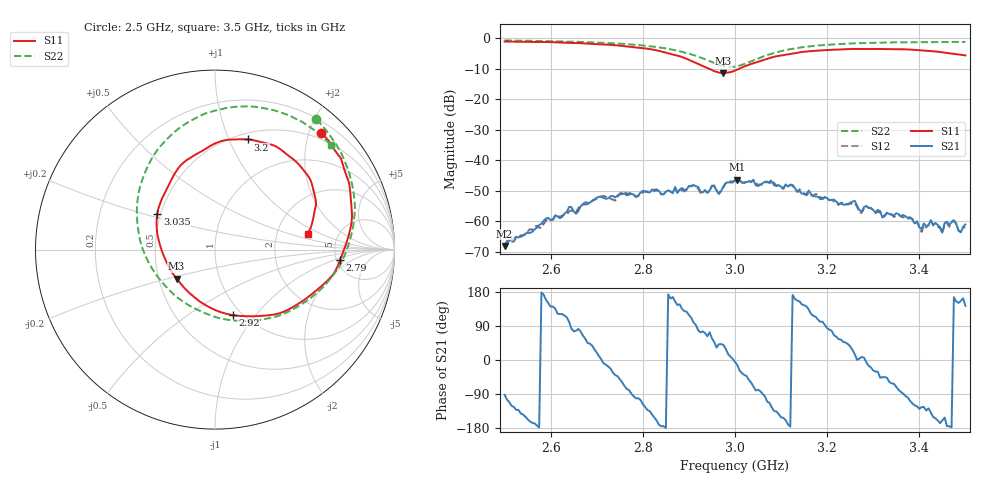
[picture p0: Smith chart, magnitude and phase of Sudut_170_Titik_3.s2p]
# Hz S RI R 50
! CMT, C1220, 16058040, 17.2.0/1
! Date: 15/08/2018 10:42:20
! Data: Format (Calibration Info)
! Freq  S11: Re/Im (F2)  S21: Re/Im (F2)  S12: Re/Im (F2)  S22: Re/Im (F2)
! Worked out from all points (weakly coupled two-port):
!   201 points, 2.5 GHz to 3.5 GHz, reference 50 ohm
!   highest |S21| = -46.29 dB at 3.005 GHz (marker M1); lowest = -68.0 dB at 2.5 GHz (marker M2)
!   lowest |S11| = -11.4 dB at 2.975 GHz (marker M3), VSWR 1.73, Z = 30.9 - j10.8 ohm
!   |S11| at or under -10 dB: 2.944 GHz to 3.009 GHz (65.59 MHz wide, 2.2 % of centre)
!   |S22| runs from -9.4 to -0.7 dB; largest |S21 - S12| = 0.00043
!   S11 on the Smith chart (normalised r, x): 2.5 GHz: 0.38, +2.21; 2.79 GHz: 5.36, -1.23; 2.92 GHz: 0.90, -0.77; 3.035 GHz: 0.48, +0.22; 3.2 GHz: 0.57, +1.18; 3.5 GHz: 2.99, +0.74
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2.5e9  0.5924 0.6516  -1.25e-05 -0.000396  -4.57e-05 -0.000391  0.5644 0.7249
2.67e9  0.7513 0.3408  0.00083 0.00174  0.000925 0.00164  0.7381 0.4536
2.79e9  0.6969 -0.0585  -0.000503 -0.00263  -0.000589 -0.00254  0.7653 0.1061
2.835e9  0.5822 -0.2127  -0.00312 -0.000496  -0.00292 -0.000512  0.705 -0.069
2.92e9  0.098 -0.3655  0.000717 0.00361  0.00064 0.0034  0.33 -0.3759
2.965e9  -0.169 -0.2156  0.00211 0.00187  0.00215 0.00192  -0.0223 -0.3672
2.975e9  -0.214 -0.1617  0.00291 0.0024  0.00285 0.00229  -0.0991 -0.3347
3e9  -0.2951 -0.011  0.00462 -0.000399  0.00467 -0.000594  -0.2716 -0.2081
3.005e9  -0.3053 0.0215  0.00472 -0.00111  0.00448 -0.00119  -0.3003 -0.1761
3.035e9  -0.3219 0.1994  0.00224 -0.00383  0.0023 -0.00381  -0.4169 0.0482
3.105e9  -0.1407 0.5093  -0.00311 -0.00161  -0.00304 -0.00149  -0.3393 0.5282
3.17e9  0.0859 0.6128  -0.00115 0.00231  -0.00136 0.00228  -0.0905 0.7415
3.2e9  0.1849 0.6135  0.000259 0.00238  0.000375 0.00239  0.0203 0.7789
3.335e9  0.4887 0.4482  0.000695 -0.00113  0.000645 -0.00117  0.3935 0.7548
3.385e9  0.5428 0.3543  -0.000447 -0.000972  -0.000451 -0.00101  0.4888 0.7095
3.405e9  0.5552 0.3037  -0.000423 -0.000622  -0.000408 -0.000537  0.5198 0.6881
3.425e9  0.5628 0.2567  -0.000788 -0.000698  -0.000793 -0.000653  0.5497 0.6681
3.45e9  0.5526 0.2018  -0.000613 -0.000234  -0.000594 -0.000236  0.5859 0.6394
3.455e9  0.5497 0.1884  -0.000833 -0.000441  -0.000829 -0.000403  0.5924 0.6344
3.475e9  0.5391 0.1375  -0.00102 0.000263  -0.001 0.00019  0.6164 0.6121
3.49e9  0.526 0.1075  -0.000605 0.000271  -0.000585 0.000342  0.6341 0.5939
3.5e9  0.5159 0.0895  -0.000714 0.000538  -0.000623 0.0005  0.6454 0.5828
